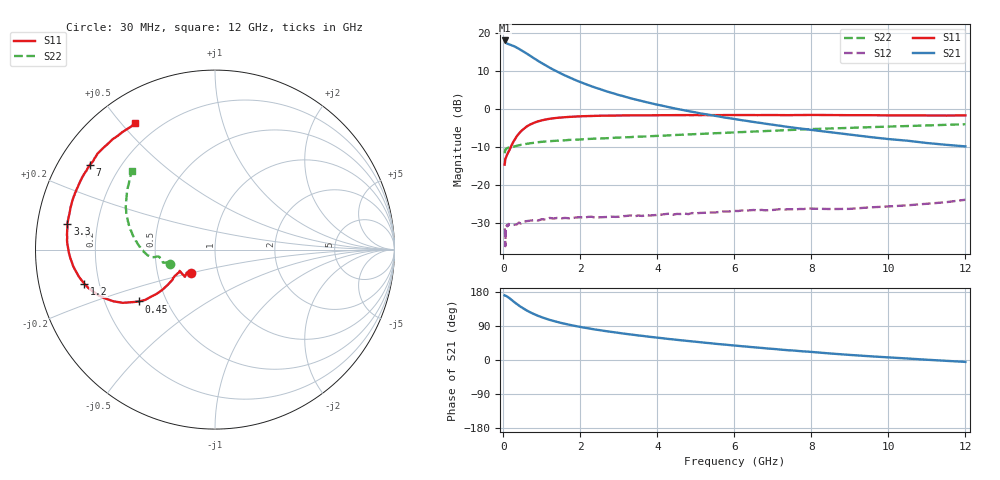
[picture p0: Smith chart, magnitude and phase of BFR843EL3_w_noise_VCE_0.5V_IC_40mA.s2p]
! Infineon Technologies  Discrete & RF Semiconductors
! BFR843EL3
! VCE =  0.5 V,  IC =  40 mA
! Common Emitter S-Parameters:  Aug 2013
# GHz  S  MA  R  50
!  f  S11  S21  S12  S22
! GHz  MAG  ANG  MAG  ANG  MAG  ANG  MAG  ANG
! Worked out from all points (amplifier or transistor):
!   103 points, 30 MHz to 12 GHz, reference 50 ohm
!   highest |S21| = 18.1 dB at 30 MHz (marker M1)
!   |S21| within 3 dB of that: start of sweep to 532.4 MHz
!   unconditionally stable (mu >= 1): start of sweep to end of sweep
!   at 400 MHz: K = 1.84, MAG = 17.6 dB, |S12| = -29.8 dB
!   at 3.7 GHz: K = 2.48, MAG = 8.1 dB, |S12| = -27.8 dB
!   at 12 GHz: K = 4.60, MAG = -2.6 dB, |S12| = -23.8 dB
!   lowest NFmin = 1.51 dB at 450 MHz
!   S11 on the Smith chart (normalised r, x): 30 MHz: 0.74, -0.20; 450 MHz: 0.35, -0.27; 1.2 GHz: 0.14, -0.13; 3.3 GHz: 0.09, +0.09; 7 GHz: 0.09, +0.30; 12 GHz: 0.12, +0.54
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0.03  0.1874 -135.1  8.053 170.5  0.0272 21.0  0.2645 -162.4
0.04  0.2025 -140.8  7.807 169.9  0.0259 15.9  0.2808 -165.2
0.05  0.2263 -137.9  7.703 169.3  0.0159 -4.5  0.299 -165.9
0.06  0.2299 -149.0  7.514 169.4  0.0272 24.0  0.2986 -168.7
0.07  0.236 -147.4  7.435 168.9  0.0284 12.1  0.3024 -169.8
0.2  0.3278 -143.3  7.001 159.5  0.0304 7.2  0.319 -173.1
0.3  0.4063 -142.8  6.674 151.3  0.0305 8.1  0.3265 -173.1
0.45  0.5127 -145.7  6.042 140.3  0.0315 9.2  0.3414 -173.0
0.6  0.5931 -150.0  5.435 131.0  0.0339 10.8  0.3518 -173.1
0.8  0.6678 -155.9  4.669 120.9  0.0349 10.4  0.3638 -174.0
1  0.7174 -160.9  4.045 112.7  0.036 11.1  0.3746 -174.8
1.2  0.7519 -165.3  3.534 105.9  0.0374 10.2  0.3819 -176.0
1.6  0.7889 -172.0  2.79 95.5  0.0374 10.1  0.3918 -177.7
2.1  0.8138 -178.6  2.182 85.3  0.0377 13.6  0.4056 -179.5
2.6  0.8262 176.2  1.778 77.1  0.0383 13.3  0.4159 178.3
3.3  0.8348 170.1  1.401 67.4  0.0404 14.5  0.4316 175.7
4.1  0.8382 164.1  1.124 57.8  0.0413 16.5  0.4503 172.5
6.1  0.8424 151.2  0.733 37.3  0.0461 20.7  0.5016 163.7
7  0.8422 146.1  0.628 29.3  0.0476 21.2  0.5232 159.3
8.5  0.8418 137.8  0.5 17.1  0.0489 20.9  0.5607 152.1
10.5  0.8339 128.3  0.387 3.9  0.0548 26.7  0.6037 142.8
12  0.8333 122.3  0.326 -5.0  0.0648 27.6  0.6373 136.5
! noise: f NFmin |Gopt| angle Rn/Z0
0.45  1.51  0.24  180  0.12
0.9  1.55  0.25  179  0.11
1.5  1.56  0.26  178  0.11
1.9  1.55  0.27  179  0.11
2.4  1.57  0.29  183  0.11
3.5  1.57  0.3  188  0.11
5.5  1.58  0.38  199  0.1
8  1.59  0.47  213  0.11
10  1.6  0.54  230  0.15
